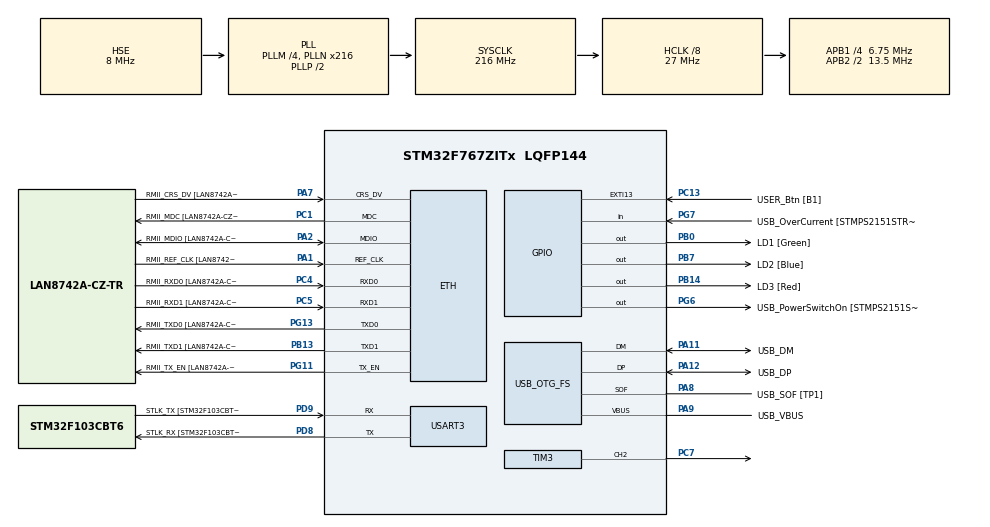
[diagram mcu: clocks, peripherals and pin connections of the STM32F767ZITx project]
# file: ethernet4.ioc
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ETH.MediaInterface=ETH_MEDIA_INTERFACE_RMII
ETH.PHY_Name=LAN8742A_PHY_ADDRESS
ETH.PHY_Value=0
ETH.PhyAddress=0
LWIP.LWIP_HTTPD=1
LWIP.LWIP_HTTPD_CGI=1
LWIP.LWIP_HTTPD_MAX_TAG_NAME_LEN=16
LWIP.Version=v2.1.2_Cube
Mcu.Family=STM32F7
Mcu.Name=STM32F767ZITx
Mcu.Package=LQFP144
NVIC.PriorityGroup=NVIC_PRIORITYGROUP_4
PA0/WKUP.GPIO_Label=BUZZER
PA0/WKUP.Signal=S_TIM2_CH1_ETR
PA1.GPIO_Label=RMII_REF_CLK [LAN8742A-CZ-TR_REFCLK0]
PA1.Mode=RMII
PA1.Signal=ETH_REF_CLK
PA10.GPIO_Label=USB_ID
PA10.Signal=USB_OTG_FS_ID
PA11.GPIO_Label=USB_DM
PA11.Mode=Device_Only
PA11.Signal=USB_OTG_FS_DM
PA12.GPIO_Label=USB_DP
PA12.Mode=Device_Only
PA12.Signal=USB_OTG_FS_DP
PA13.GPIO_Label=TMS
PA13.Mode=Serial_Wire
PA13.Signal=SYS_JTMS-SWDIO
PA14.GPIO_Label=TCK
PA14.Mode=Serial_Wire
PA14.Signal=SYS_JTCK-SWCLK
PA2.GPIO_Label=RMII_MDIO [LAN8742A-CZ-TR_MDIO]
PA2.Mode=RMII
PA2.Signal=ETH_MDIO
PA7.GPIO_Label=RMII_CRS_DV [LAN8742A-CZ-TR_CRS_DV]
PA7.Mode=RMII
PA7.Signal=ETH_CRS_DV
PA8.GPIO_Label=USB_SOF [TP1]
PA8.Mode=Activate_SOF_FS
PA8.Signal=USB_OTG_FS_SOF
PA9.GPIO_Label=USB_VBUS
PA9.Mode=Activate_VBUS
PA9.Signal=USB_OTG_FS_VBUS
PB0.GPIO_Label=LD1 [Green]
PB0.Signal=GPIO_Output
PB13.GPIO_Label=RMII_TXD1 [LAN8742A-CZ-TR_TXD1]
PB13.Mode=RMII
PB13.Signal=ETH_TXD1
PB14.GPIO_Label=LD3 [Red]
PB14.Signal=GPIO_Output
PB3.GPIO_Label=SWO
PB3.Signal=SYS_JTDO-SWO
PB7.GPIO_Label=LD2 [Blue]
PB7.Signal=GPIO_Output
PC1.GPIO_Label=RMII_MDC [LAN8742A-CZ-TR_MDC]
PC1.Mode=RMII
PC1.Signal=ETH_MDC
PC13.GPIO_Label=USER_Btn [B1]
PC13.Signal=GPXTI13
PC14/OSC32_IN.Mode=LSE-External-Oscillator
PC14/OSC32_IN.Signal=RCC_OSC32_IN
PC15/OSC32_OUT.Mode=LSE-External-Oscillator
PC15/OSC32_OUT.Signal=RCC_OSC32_OUT
PC4.GPIO_Label=RMII_RXD0 [LAN8742A-CZ-TR_RXD0]
PC4.Mode=RMII
PC4.Signal=ETH_RXD0
PC5.GPIO_Label=RMII_RXD1 [LAN8742A-CZ-TR_RXD1]
PC5.Mode=RMII
PC5.Signal=ETH_RXD1
PC7.Signal=S_TIM3_CH2
PD8.GPIO_Label=STLK_RX [STM32F103CBT6_PA3]
PD8.Mode=Asynchronous
PD8.Signal=USART3_TX
PD9.GPIO_Label=STLK_TX [STM32F103CBT6_PA2]
PD9.Mode=Asynchronous
PD9.Signal=USART3_RX
PG11.GPIO_Label=RMII_TX_EN [LAN8742A-CZ-TR_TXEN]
PG11.Mode=RMII
PG11.Signal=ETH_TX_EN
PG13.GPIO_Label=RMII_TXD0 [LAN8742A-CZ-TR_TXD0]
PG13.Mode=RMII
PG13.Signal=ETH_TXD0
PG6.GPIO_Label=USB_PowerSwitchOn [STMPS2151STR_EN]
PG6.Signal=GPIO_Output
PG7.GPIO_Label=USB_OverCurrent [STMPS2151STR_FAULT]
PG7.Signal=GPIO_Input
PH0/OSC_IN.GPIO_Label=MCO [STM32F103CBT6_PA8]
PH0/OSC_IN.Mode=HSE-External-Oscillator
PH0/OSC_IN.Signal=RCC_OSC_IN
PH1/OSC_OUT.Mode=HSE-External-Oscillator
PH1/OSC_OUT.Signal=RCC_OSC_OUT
ProjectManager.HeapSize=0x200
ProjectManager.StackSize=0x400
ProjectManager.TargetToolchain=STM32CubeIDE
RCC.48MHZClocksFreq_Value=24000000
RCC.AHBCLKDivider=RCC_SYSCLK_DIV8
RCC.AHBFreq_Value=27000000
RCC.APB1CLKDivider=RCC_HCLK_DIV4
RCC.APB1Freq_Value=6750000
RCC.APB1TimFreq_Value=13500000
RCC.APB2CLKDivider=RCC_HCLK_DIV2
RCC.APB2Freq_Value=13500000
RCC.APB2TimFreq_Value=27000000
RCC.CortexFreq_Value=27000000
RCC.HCLKFreq_Value=27000000
RCC.HSE_VALUE=8000000
RCC.HSI_VALUE=16000000
RCC.PLLM=4
RCC.PLLMUL=RCC_PLL_MUL9
RCC.PLLN=216
RCC.PLLQ=9
RCC.PRESCALERUSB=RCC_USBCLKSOURCE_PLL_DIV1_5
RCC.SYSCLKFreq_VALUE=216000000
RCC.SYSCLKSource=RCC_SYSCLKSOURCE_PLLCLK
RCC.SYSCLKSourceVirtual=RCC_SYSCLKSOURCE_PLLCLK
RCC.USBFreq_Value=48000000
RCC.VCOOutputFreq_Value=432000000
SH.S_TIM2_CH1_ETR.0=TIM2_CH1
SH.S_TIM3_CH2.0=TIM3_CH2,PWM Generation2 CH2
TIM3.Channel-PWM\ Generation2\ CH2=TIM_CHANNEL_2
TIM3.Period=15341
TIM3.Pulse-PWM\ Generation2\ CH2=7670
USART3.VirtualMode-Asynchronous=VM_ASYNC
USB_OTG_FS.VirtualMode=Device_Only
VP_LWIP_VS_Enabled.Mode=Enabled
VP_TIM3_VS_ClockSourceINT.Mode=Internal
board=NUCLEO-F767ZI

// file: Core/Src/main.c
/* USER CODE BEGIN Header */
/**
  ******************************************************************************
  * @file           : main.c
  * @brief          : Main program body
  ******************************************************************************
  * @attention
  *
  * <h2><center>&copy; Copyright (c) 2021 STMicroelectronics.
  * All rights reserved.</center></h2>
  *
  * This software component is licensed by ST under Ultimate Liberty license
  * SLA0044, the "License"; You may not use this file except in compliance with
  * the License. You may obtain a copy of the License at:
  *                             www.st.com/SLA0044
  *
  ******************************************************************************
  */
/* USER CODE END Header */
#include "main.h"
#include "lwip.h"

/* USER CODE BEGIN Includes */

#include "lwip/apps/httpd.h"

// we include String.h for the strcmp() function [= CGI #1 =]
#include <String.h>

/* USER CODE END Includes */

TIM_HandleTypeDef htim3;

UART_HandleTypeDef huart3;

PCD_HandleTypeDef hpcd_USB_OTG_FS;

/* USER CODE BEGIN PV */

// just declaring the function for the compiler [= CGI #2 =]
const char* LedCGIhandler(int iIndex, int iNumParams, char *pcParam[],
char *pcValue[]);

// in our HTML file <form method="get" action="/leds.cgi"> [= CGI #3 =]
const tCGI LedCGI = { "/leds.cgi", LedCGIhandler };

// [= CGI #4 =]
tCGI theCGItable[1];

/* USER CODE END PV */

void SystemClock_Config(void);
static void MX_GPIO_Init(void);
static void MX_USART3_UART_Init(void);
static void MX_USB_OTG_FS_PCD_Init(void);
static void MX_TIM3_Init(void);
static void setPWM(TIM_HandleTypeDef, uint32_t, uint16_t, uint16_t);

/* USER CODE BEGIN 0 */
// the actual function for handling CGI [= CGI #5 =]
const char* LedCGIhandler(int iIndex, int iNumParams, char *pcParam[],
char *pcValue[])
{

	uint32_t i = 0;

	for (i = 0; i < iNumParams; i++)
	{
		if (strcmp(pcParam[i], "led") == 0)
		{

			if (strcmp(pcValue[i], "1") == 0)
			{
				HAL_GPIO_WritePin(LD1_GPIO_Port, LD1_Pin, GPIO_PIN_SET);
			}

			else if (strcmp(pcValue[i], "2") == 0)
			{
				HAL_GPIO_WritePin(LD2_GPIO_Port, LD2_Pin, GPIO_PIN_SET);
			}

			else if (strcmp(pcValue[i], "3") == 0)
			{
				HAL_GPIO_WritePin(LD3_GPIO_Port, LD3_Pin, GPIO_PIN_SET);
			}
			else if (strcmp(pcValue[i], "4") == 0)
			{
				//turning the LED lights off
				HAL_GPIO_WritePin(LD1_GPIO_Port, LD1_Pin, GPIO_PIN_RESET);
				HAL_GPIO_WritePin(LD2_GPIO_Port, LD2_Pin, GPIO_PIN_RESET);
				HAL_GPIO_WritePin(LD3_GPIO_Port, LD3_Pin, GPIO_PIN_RESET);
			}

		}

		else if (strcmp(pcParam[i], "frequencia") == 0)
		{
			if (strcmp(pcValue[i], "1") == 0)
			{
				setPWM(htim3, TIM_CHANNEL_2, 13636, 6818); //440Hz
			}

			else if (strcmp(pcValue[i], "2") == 0)
			{

				setPWM(htim3, TIM_CHANNEL_2, 25000, 6818);

			}
			else if (strcmp(pcValue[i], "3") == 0)
			{

				setPWM(htim3, TIM_CHANNEL_2, 15341, 0); //0Hz

			}
		}

	}

	// the extension .shtml for SSI to work
	return "/index.html";

} // END [= CGI #5 =]

// function to initialize CGI [= CGI #6 =]
void myCGIinit(void) {
	//add LED control CGI to the table
	theCGItable[0] = LedCGI;
	//give the table to the HTTP server
	http_set_cgi_handlers(theCGItable, 1);
} // END [= CGI #6 =]

/* USER CODE END 0 */

int main(void)
{

  /* MCU Configuration--------------------------------------------------------*/

  /* Reset of all peripherals, Initializes the Flash interface and the Systick. */
  HAL_Init();

  /* Configure the system clock */
  SystemClock_Config();

  /* Initialize all configured peripherals */
  MX_GPIO_Init();
  MX_USART3_UART_Init();
  MX_USB_OTG_FS_PCD_Init();
  MX_LWIP_Init();
  MX_TIM3_Init();
  /* USER CODE BEGIN 2 */

	// initializing the HTTPd [-HTTPd #2-]
	httpd_init();

	// initializing CGI  [= CGI #7 =]
	myCGIinit();

  /* USER CODE END 2 */

  /* Infinite loop */
  while (1)
  {
	  MX_LWIP_Process();

  }
}

void SystemClock_Config(void)
{
  RCC_OscInitTypeDef RCC_OscInitStruct = {0};
  RCC_ClkInitTypeDef RCC_ClkInitStruct = {0};
  RCC_PeriphCLKInitTypeDef PeriphClkInitStruct = {0};

  /** Configure LSE Drive Capability
  */
  HAL_PWR_EnableBkUpAccess();
  /** Configure the main internal regulator output voltage
  */
  __HAL_RCC_PWR_CLK_ENABLE();
  __HAL_PWR_VOLTAGESCALING_CONFIG(PWR_REGULATOR_VOLTAGE_SCALE3);
  /** Initializes the RCC Oscillators according to the specified parameters
  * in the RCC_OscInitTypeDef structure.
  */
  RCC_OscInitStruct.OscillatorType = RCC_OSCILLATORTYPE_HSE;
  RCC_OscInitStruct.HSEState = RCC_HSE_ON;
  RCC_OscInitStruct.PLL.PLLState = RCC_PLL_ON;
  RCC_OscInitStruct.PLL.PLLSource = RCC_PLLSOURCE_HSE;
  RCC_OscInitStruct.PLL.PLLM = 4;
  RCC_OscInitStruct.PLL.PLLN = 216;
  RCC_OscInitStruct.PLL.PLLP = RCC_PLLP_DIV2;
  RCC_OscInitStruct.PLL.PLLQ = 9;
  RCC_OscInitStruct.PLL.PLLR = 2;
  if (HAL_RCC_OscConfig(&RCC_OscInitStruct) != HAL_OK)
  {
    Error_Handler();
  }
  /** Initializes the CPU, AHB and APB buses clocks
  */
  RCC_ClkInitStruct.ClockType = RCC_CLOCKTYPE_HCLK|RCC_CLOCKTYPE_SYSCLK
                              |RCC_CLOCKTYPE_PCLK1|RCC_CLOCKTYPE_PCLK2;
  RCC_ClkInitStruct.SYSCLKSource = RCC_SYSCLKSOURCE_PLLCLK;
  RCC_ClkInitStruct.AHBCLKDivider = RCC_SYSCLK_DIV8;
  RCC_ClkInitStruct.APB1CLKDivider = RCC_HCLK_DIV4;
  RCC_ClkInitStruct.APB2CLKDivider = RCC_HCLK_DIV2;

  if (HAL_RCC_ClockConfig(&RCC_ClkInitStruct, FLASH_LATENCY_0) != HAL_OK)
  {
    Error_Handler();
  }
  PeriphClkInitStruct.PeriphClockSelection = RCC_PERIPHCLK_USART3|RCC_PERIPHCLK_CLK48;
  PeriphClkInitStruct.Usart3ClockSelection = RCC_USART3CLKSOURCE_PCLK1;
  PeriphClkInitStruct.Clk48ClockSelection = RCC_CLK48SOURCE_PLL;
  if (HAL_RCCEx_PeriphCLKConfig(&PeriphClkInitStruct) != HAL_OK)
  {
    Error_Handler();
  }
}

static void MX_TIM3_Init(void)
{

  TIM_ClockConfigTypeDef sClockSourceConfig = {0};
  TIM_MasterConfigTypeDef sMasterConfig = {0};
  TIM_OC_InitTypeDef sConfigOC = {0};

  htim3.Instance = TIM3;
  htim3.Init.Prescaler = 0;
  htim3.Init.CounterMode = TIM_COUNTERMODE_UP;
  htim3.Init.Period = 15341;
  htim3.Init.ClockDivision = TIM_CLOCKDIVISION_DIV1;
  htim3.Init.AutoReloadPreload = TIM_AUTORELOAD_PRELOAD_DISABLE;
  if (HAL_TIM_Base_Init(&htim3) != HAL_OK)
  {
    Error_Handler();
  }
  sClockSourceConfig.ClockSource = TIM_CLOCKSOURCE_INTERNAL;
  if (HAL_TIM_ConfigClockSource(&htim3, &sClockSourceConfig) != HAL_OK)
  {
    Error_Handler();
  }
  if (HAL_TIM_PWM_Init(&htim3) != HAL_OK)
  {
    Error_Handler();
  }
  sMasterConfig.MasterOutputTrigger = TIM_TRGO_RESET;
  sMasterConfig.MasterSlaveMode = TIM_MASTERSLAVEMODE_DISABLE;
  if (HAL_TIMEx_MasterConfigSynchronization(&htim3, &sMasterConfig) != HAL_OK)
  {
    Error_Handler();
  }
  sConfigOC.OCMode = TIM_OCMODE_PWM1;
  sConfigOC.Pulse = 7670;
  sConfigOC.OCPolarity = TIM_OCPOLARITY_HIGH;
  sConfigOC.OCFastMode = TIM_OCFAST_DISABLE;
  if (HAL_TIM_PWM_ConfigChannel(&htim3, &sConfigOC, TIM_CHANNEL_2) != HAL_OK)
  {
    Error_Handler();
  }
  HAL_TIM_MspPostInit(&htim3);

}

static void MX_USART3_UART_Init(void)
{

  huart3.Instance = USART3;
  huart3.Init.BaudRate = 115200;
  huart3.Init.WordLength = UART_WORDLENGTH_8B;
  huart3.Init.StopBits = UART_STOPBITS_1;
  huart3.Init.Parity = UART_PARITY_NONE;
  huart3.Init.Mode = UART_MODE_TX_RX;
  huart3.Init.HwFlowCtl = UART_HWCONTROL_NONE;
  huart3.Init.OverSampling = UART_OVERSAMPLING_16;
  huart3.Init.OneBitSampling = UART_ONE_BIT_SAMPLE_DISABLE;
  huart3.AdvancedInit.AdvFeatureInit = UART_ADVFEATURE_NO_INIT;
  if (HAL_UART_Init(&huart3) != HAL_OK)
  {
    Error_Handler();
  }

}

static void MX_USB_OTG_FS_PCD_Init(void)
{

  hpcd_USB_OTG_FS.Instance = USB_OTG_FS;
  hpcd_USB_OTG_FS.Init.dev_endpoints = 6;
  hpcd_USB_OTG_FS.Init.speed = PCD_SPEED_FULL;
  hpcd_USB_OTG_FS.Init.dma_enable = DISABLE;
  hpcd_USB_OTG_FS.Init.phy_itface = PCD_PHY_EMBEDDED;
  hpcd_USB_OTG_FS.Init.Sof_enable = ENABLE;
  hpcd_USB_OTG_FS.Init.low_power_enable = DISABLE;
  hpcd_USB_OTG_FS.Init.lpm_enable = DISABLE;
  hpcd_USB_OTG_FS.Init.vbus_sensing_enable = ENABLE;
  hpcd_USB_OTG_FS.Init.use_dedicated_ep1 = DISABLE;
  if (HAL_PCD_Init(&hpcd_USB_OTG_FS) != HAL_OK)
  {
    Error_Handler();
  }

}

static void MX_GPIO_Init(void)
{
  GPIO_InitTypeDef GPIO_InitStruct = {0};

  /* GPIO Ports Clock Enable */
  __HAL_RCC_GPIOC_CLK_ENABLE();
  __HAL_RCC_GPIOH_CLK_ENABLE();
  __HAL_RCC_GPIOA_CLK_ENABLE();
  __HAL_RCC_GPIOB_CLK_ENABLE();
  __HAL_RCC_GPIOD_CLK_ENABLE();
  __HAL_RCC_GPIOG_CLK_ENABLE();

  /*Configure GPIO pin Output Level */
  HAL_GPIO_WritePin(GPIOB, LD1_Pin|LD3_Pin|LD2_Pin, GPIO_PIN_RESET);

  /*Configure GPIO pin Output Level */
  HAL_GPIO_WritePin(USB_PowerSwitchOn_GPIO_Port, USB_PowerSwitchOn_Pin, GPIO_PIN_RESET);

  /*Configure GPIO pin : USER_Btn_Pin */
  GPIO_InitStruct.Pin = USER_Btn_Pin;
  GPIO_InitStruct.Mode = GPIO_MODE_IT_RISING;
  GPIO_InitStruct.Pull = GPIO_NOPULL;
  HAL_GPIO_Init(USER_Btn_GPIO_Port, &GPIO_InitStruct);

  /*Configure GPIO pins : LD1_Pin LD3_Pin LD2_Pin */
  GPIO_InitStruct.Pin = LD1_Pin|LD3_Pin|LD2_Pin;
  GPIO_InitStruct.Mode = GPIO_MODE_OUTPUT_PP;
  GPIO_InitStruct.Pull = GPIO_NOPULL;
  GPIO_InitStruct.Speed = GPIO_SPEED_FREQ_LOW;
  HAL_GPIO_Init(GPIOB, &GPIO_InitStruct);

  /*Configure GPIO pin : USB_PowerSwitchOn_Pin */
  GPIO_InitStruct.Pin = USB_PowerSwitchOn_Pin;
  GPIO_InitStruct.Mode = GPIO_MODE_OUTPUT_PP;
  GPIO_InitStruct.Pull = GPIO_NOPULL;
  GPIO_InitStruct.Speed = GPIO_SPEED_FREQ_LOW;
  HAL_GPIO_Init(USB_PowerSwitchOn_GPIO_Port, &GPIO_InitStruct);

  /*Configure GPIO pin : USB_OverCurrent_Pin */
  GPIO_InitStruct.Pin = USB_OverCurrent_Pin;
  GPIO_InitStruct.Mode = GPIO_MODE_INPUT;
  GPIO_InitStruct.Pull = GPIO_NOPULL;
  HAL_GPIO_Init(USB_OverCurrent_GPIO_Port, &GPIO_InitStruct);

}

/* USER CODE BEGIN 4 */

void setPWM(TIM_HandleTypeDef timer, uint32_t channel, uint16_t period, uint16_t pulse)
{
	HAL_TIM_PWM_Stop(&timer, channel);
	TIM_OC_InitTypeDef sConfigOC;
	timer.Init.Period = period;
	HAL_TIM_PWM_Init(&timer);
	sConfigOC.OCMode = TIM_OCMODE_PWM1;
	sConfigOC.Pulse = pulse;
	sConfigOC.OCPolarity = TIM_OCPOLARITY_HIGH;
	sConfigOC.OCFastMode = TIM_OCFAST_DISABLE;
	HAL_TIM_PWM_ConfigChannel(&timer, &sConfigOC, channel);
	HAL_TIM_PWM_Start(&timer, channel);
}

/* USER CODE END 4 */

void Error_Handler(void)
{
  __disable_irq();
  while (1)
  {
  }
}

/************************ (C) COPYRIGHT STMicroelectronics *****END OF FILE****/
